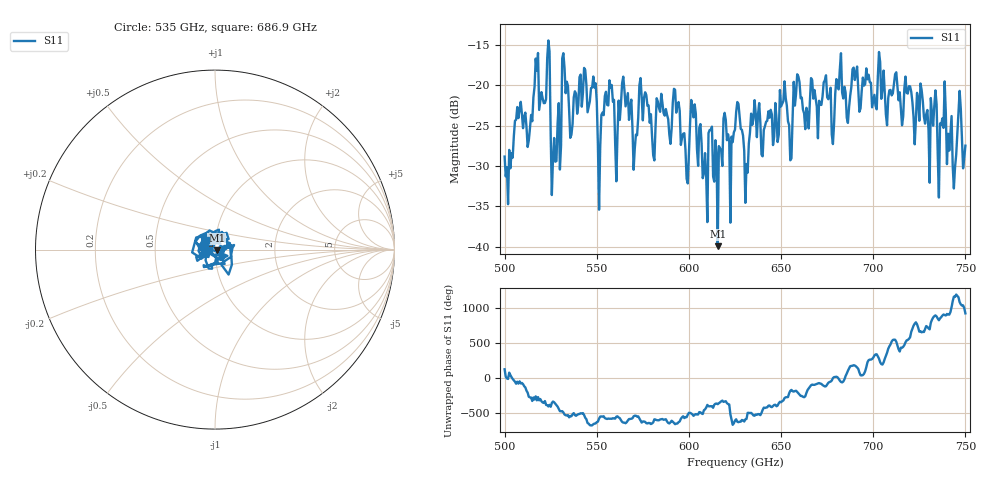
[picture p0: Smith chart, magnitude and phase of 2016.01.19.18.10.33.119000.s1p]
!Created with skrf (http://scikit-rf.org).
# GHz S RI R 50.0
!freq ReS11 ImS11
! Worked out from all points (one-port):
!   401 points, 500 GHz to 750 GHz, reference 50 ohm
!   lowest |S11| = -40.0 dB at 615.6 GHz (marker M1), VSWR 1.02, Z = 51 - j0.321 ohm
!   |S11| at or under -10 dB: start of sweep to end of sweep
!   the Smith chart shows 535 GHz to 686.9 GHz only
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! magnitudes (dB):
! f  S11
! 500 GHz  -28.8
! 523.1 GHz  -16.6
! 526.9 GHz  -26.5
! 531.2 GHz  -16.7
! 548.1 GHz  -18.9
! 551.9 GHz  -27.6
! 555.6 GHz  -22.4
! 561.2 GHz  -26.0
! 562.5 GHz  -24.3
! 570.6 GHz  -27.8
! 574.4 GHz  -21.5
! 580.6 GHz  -28.7
! 593.8 GHz  -22.3
! 598.8 GHz  -31.6
! 602.5 GHz  -24.0
! 608.8 GHz  -28.4
! 611.9 GHz  -25.5
! 615.6 GHz  -40.0
! 625 GHz  -25.5
! 631.2 GHz  -29.8
! 635 GHz  -24.1
! 656.2 GHz  -24.0
! 659.4 GHz  -18.9
! 663.8 GHz  -22.8
! 687.5 GHz  -21.3
! 718.8 GHz  -21.0
! 746.9 GHz  -20.7
! 750 GHz  -27.5
